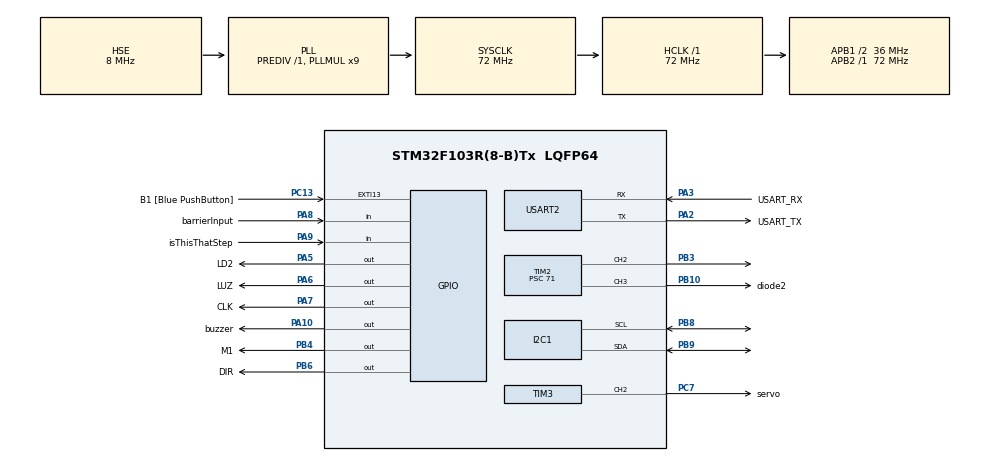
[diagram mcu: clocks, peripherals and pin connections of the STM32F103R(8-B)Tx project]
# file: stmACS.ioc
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Dma.I2C1_RX.1.Direction=DMA_PERIPH_TO_MEMORY
Dma.I2C1_RX.1.Instance=DMA1_Channel7
Dma.I2C1_RX.1.MemDataAlignment=DMA_MDATAALIGN_BYTE
Dma.I2C1_RX.1.MemInc=DMA_MINC_ENABLE
Dma.I2C1_RX.1.Mode=DMA_NORMAL
Dma.I2C1_RX.1.PeriphDataAlignment=DMA_PDATAALIGN_BYTE
Dma.I2C1_RX.1.PeriphInc=DMA_PINC_DISABLE
Dma.I2C1_RX.1.Priority=DMA_PRIORITY_LOW
Dma.I2C1_TX.0.Direction=DMA_MEMORY_TO_PERIPH
Dma.I2C1_TX.0.Instance=DMA1_Channel6
Dma.I2C1_TX.0.MemDataAlignment=DMA_MDATAALIGN_BYTE
Dma.I2C1_TX.0.MemInc=DMA_MINC_ENABLE
Dma.I2C1_TX.0.Mode=DMA_NORMAL
Dma.I2C1_TX.0.PeriphDataAlignment=DMA_PDATAALIGN_BYTE
Dma.I2C1_TX.0.PeriphInc=DMA_PINC_DISABLE
Dma.I2C1_TX.0.Priority=DMA_PRIORITY_LOW
Dma.Request0=I2C1_TX
Dma.Request1=I2C1_RX
FREERTOS.INCLUDE_vTaskDelayUntil=1
FREERTOS.Tasks01=defaultTask,0,128,StartDefaultTask,Default,NULL,Dynamic,NULL,NULL
Mcu.Family=STM32F1
Mcu.Name=STM32F103R(8-B)Tx
Mcu.Package=LQFP64
NVIC.DMA1_Channel6_IRQn=true\:5\:0\:false\:false\:true\:true\:false\:true
NVIC.DMA1_Channel7_IRQn=true\:5\:0\:false\:false\:true\:true\:false\:true
NVIC.EXTI15_10_IRQn=true\:5\:0\:false\:false\:true\:true\:true\:true
NVIC.I2C1_ER_IRQn=true\:5\:0\:false\:false\:true\:true\:true\:true
NVIC.I2C1_EV_IRQn=true\:5\:0\:false\:false\:true\:true\:true\:true
NVIC.PriorityGroup=NVIC_PRIORITYGROUP_4
NVIC.TIM3_IRQn=true\:5\:0\:false\:false\:true\:true\:true\:true
PA10.GPIO_Label=buzzer
PA10.Signal=GPIO_Output
PA13.GPIO_Label=TMS
PA13.Mode=Serial_Wire
PA13.Signal=SYS_JTMS-SWDIO
PA14.GPIO_Label=TCK
PA14.Mode=Serial_Wire
PA14.Signal=SYS_JTCK-SWCLK
PA2.GPIO_Label=USART_TX
PA2.GPIO_Mode=GPIO_MODE_AF_PP
PA2.GPIO_PuPd=GPIO_NOPULL
PA2.GPIO_Speed=GPIO_SPEED_FREQ_LOW
PA2.Mode=Asynchronous
PA2.Signal=USART2_TX
PA3.GPIO_Label=USART_RX
PA3.GPIO_Mode=GPIO_MODE_AF_PP
PA3.GPIO_PuPd=GPIO_NOPULL
PA3.GPIO_Speed=GPIO_SPEED_FREQ_LOW
PA3.Mode=Asynchronous
PA3.Signal=USART2_RX
PA5.GPIO_Label=LD2
PA5.GPIO_ModeDefaultOutputPP=GPIO_MODE_OUTPUT_PP
PA5.GPIO_PuPd=GPIO_NOPULL
PA5.GPIO_Speed=GPIO_SPEED_FREQ_LOW
PA5.Signal=GPIO_Output
PA6.GPIO_Label=LUZ
PA6.Signal=GPIO_Output
PA7.GPIO_Label=CLK
PA7.Signal=GPIO_Output
PA8.GPIO_Label=barrierInput
PA8.Signal=GPIO_Input
PA9.GPIO_Label=isThisThatStep
PA9.Signal=GPIO_Input
PB10.GPIO_Label=diode2
PB10.Signal=S_TIM2_CH3
PB3.Signal=S_TIM2_CH2
PB4.GPIO_Label=M1
PB4.Signal=GPIO_Output
PB6.GPIO_Label=DIR
PB6.Signal=GPIO_Output
PB8.Mode=I2C
PB8.Signal=I2C1_SCL
PB9.Mode=I2C
PB9.Signal=I2C1_SDA
PC13-TAMPER-RTC.GPIO_Label=B1 [Blue PushButton]
PC13-TAMPER-RTC.GPIO_PuPd=GPIO_NOPULL
PC13-TAMPER-RTC.Signal=GPXTI13
PC14-OSC32_IN.Mode=LSE-External-Oscillator
PC14-OSC32_IN.Signal=RCC_OSC32_IN
PC15-OSC32_OUT.Mode=LSE-External-Oscillator
PC15-OSC32_OUT.Signal=RCC_OSC32_OUT
PC7.GPIO_Label=servo
PC7.Signal=S_TIM3_CH2
PD0-OSC_IN.Mode=HSE-External-Clock-Source
PD0-OSC_IN.Signal=RCC_OSC_IN
PD1-OSC_OUT.Mode=HSE-External-Clock-Source
PD1-OSC_OUT.Signal=RCC_OSC_OUT
ProjectManager.HeapSize=0x200
ProjectManager.StackSize=0x400
ProjectManager.TargetToolchain=STM32CubeIDE
RCC.AHBFreq_Value=72000000
RCC.APB1CLKDivider=RCC_HCLK_DIV2
RCC.APB1Freq_Value=36000000
RCC.APB1TimFreq_Value=72000000
RCC.APB2Freq_Value=72000000
RCC.APB2TimFreq_Value=72000000
RCC.HCLKFreq_Value=72000000
RCC.PLLMUL=RCC_PLL_MUL9
RCC.PLLSourceVirtual=RCC_PLLSOURCE_HSE
RCC.RTCClockSelection=RCC_RTCCLKSOURCE_LSE
RCC.SYSCLKFreq_VALUE=72000000
RCC.SYSCLKSource=RCC_SYSCLKSOURCE_PLLCLK
RCC.USBFreq_Value=72000000
SH.S_TIM2_CH2.0=TIM2_CH2,PWM Generation2 CH2
SH.S_TIM2_CH3.0=TIM2_CH3,PWM Generation3 CH3
SH.S_TIM3_CH2.0=TIM3_CH2,PWM Generation2 CH2
TIM2.Channel-PWM\ Generation2\ CH2=TIM_CHANNEL_2
TIM2.Channel-PWM\ Generation3\ CH3=TIM_CHANNEL_3
TIM2.Period=999
TIM2.Prescaler=71
TIM3.Channel-PWM\ Generation2\ CH2=TIM_CHANNEL_2
TIM3.Period=19999
TIM3.Prescaler=71
USART2.VirtualMode=VM_ASYNC
VP_FREERTOS_VS_CMSIS_V1.Mode=CMSIS_V1
VP_TIM2_VS_ClockSourceINT.Mode=Internal
VP_TIM3_VS_ClockSourceINT.Mode=Internal
board=NUCLEO-F103RB

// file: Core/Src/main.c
/* USER CODE BEGIN Header */
/**
  ******************************************************************************
  * @file           : main.c
  * @brief          : Main program body
  ******************************************************************************
  * @attention
  *
  * <h2><center>&copy; Copyright (c) 2020 STMicroelectronics.
  * All rights reserved.</center></h2>
  *
  * This software component is licensed by ST under BSD 3-Clause license,
  * the "License"; You may not use this file except in compliance with the
  * License. You may obtain a copy of the License at:
  *                        opensource.org/licenses/BSD-3-Clause
  *
  ******************************************************************************
  */
/* USER CODE END Header */

#include "main.h"
#include "cmsis_os.h"

/* USER CODE BEGIN Includes */
#include "i2c-lcd.h"
#include "lcd_hd44780_i2c.h"
#include "stm32f1xx_it.h"
/* USER CODE END Includes */

I2C_HandleTypeDef hi2c1;
DMA_HandleTypeDef hdma_i2c1_tx;
DMA_HandleTypeDef hdma_i2c1_rx;

TIM_HandleTypeDef htim2;
TIM_HandleTypeDef htim3;

UART_HandleTypeDef huart2;

osThreadId defaultTaskHandle;
/* USER CODE BEGIN PV */
_Bool isNextStepServo = 0;
int licznik=0;
//bool isNextStepServo = false; //determines if next step is cherry
/* USER CODE END PV */

void SystemClock_Config(void);
static void MX_GPIO_Init(void);
static void MX_DMA_Init(void);
static void MX_USART2_UART_Init(void);
static void MX_TIM3_Init(void);
static void MX_I2C1_Init(void);
static void MX_TIM2_Init(void);
void StartDefaultTask(void const * argument);

/* USER CODE BEGIN PFP */
void StartDefaultTask(void const * argument) {
    /* USER CODE BEGIN StartDefaultTask */
    lcdInit(&hi2c1, (uint8_t)0x27, (uint8_t)2, (uint8_t)20);

    // Print text and home position 0,0
    lcdPrintStr((uint8_t*)"Hello,", 6);

    // Set cursor at zero position of line 3
    lcdSetCursorPosition(0, 2);

    // Print text at cursor position
    lcdPrintStr((uint8_t*)"World!", 6);

    for (;;) {
        vTaskDelay(1000);
    }

    /* USER CODE END StartDefaultTask */
}
/* USER CODE END PFP */

int main(void)
{

  /* MCU Configuration--------------------------------------------------------*/

  /* Reset of all peripherals, Initializes the Flash interface and the Systick. */
  HAL_Init();

  /* Configure the system clock */
  SystemClock_Config();

  /* Initialize all configured peripherals */
  MX_GPIO_Init();
  MX_DMA_Init();
  MX_USART2_UART_Init();
  MX_TIM3_Init();
  MX_I2C1_Init();
  MX_TIM2_Init();
  /* USER CODE BEGIN 2 */
  void StartDefaultTask(void const * argument) {
      /* USER CODE BEGIN StartDefaultTask */
      lcdInit(&hi2c1, (uint8_t)0x27, (uint8_t)2, (uint8_t)20);

      // Print text and home position 0,0
      lcdPrintStr((uint8_t*)"Hello,", 6);

      // Set cursor at zero position of line 3
      lcdSetCursorPosition(0, 2);

      // Print text at cursor position
      lcdPrintStr((uint8_t*)"World!", 6);

      for (;;) {
          vTaskDelay(1000);
      }

      /* USER CODE END StartDefaultTask */
  }

  HAL_TIM_PWM_Start(&htim3, TIM_CHANNEL_2); /* PWM servo PC7 */
  HAL_TIM_PWM_Start(&htim2, TIM_CHANNEL_2); /* PWM diode1 */
  HAL_TIM_PWM_Start(&htim2, TIM_CHANNEL_3); /* PWM diode2 */

  HAL_GPIO_WritePin(DIR_GPIO_Port, DIR_Pin, GPIO_PIN_RESET);
  //HAL_GPIO_WritePin(M1_GPIO_Port, M1_Pin, GPIO_PIN_SET);
  HAL_GPIO_WritePin(LUZ_GPIO_Port, LUZ_Pin, GPIO_PIN_RESET);
  HAL_GPIO_WritePin(CLK_GPIO_Port, CLK_Pin, GPIO_PIN_RESET);
  //__HAL_TIM_SET_COMPARE(&htim3, TIM_CHANNEL_2, 0);
  // htim3.Instance->CCR1=25;
  //HAL_Delay(1000);
  /* USER CODE END 2 */

  /* Create the thread(s) */
  /* definition and creation of defaultTask */
  osThreadDef(defaultTask, StartDefaultTask, osPriorityNormal, 0, 128);
  defaultTaskHandle = osThreadCreate(osThread(defaultTask), NULL);

  /* Start scheduler */
  osKernelStart();

  /* We should never get here as control is now taken by the scheduler */

  /* Infinite loop */
  /* USER CODE BEGIN WHILE */

  while (1)
  {

	  __HAL_TIM_SET_COMPARE(&htim2, TIM_CHANNEL_3, 1000);
	  //SILNIK KROKOWY

	  HAL_GPIO_WritePin(CLK_GPIO_Port, CLK_Pin, GPIO_PIN_SET);
	  HAL_Delay(1);
	  HAL_GPIO_WritePin(CLK_GPIO_Port, CLK_Pin, GPIO_PIN_RESET);
	  HAL_Delay(1000);

	  //HAL_GPIO_WritePin(LUZ_GPIO_Port, LUZ_Pin, GPIO_PIN_SET);

	  //lcdSetCursorPosition(0, 1);
	  //lcdPrintStr((uint8_t*)"Elo", 3);
	  //lcdSetCursorPosition(0, 2);
	  //lcdPrintStr((uint8_t*)"ziom", 4);

	  //WSTAW ZABEZPIECZENIE BUZZER I DIODA
	  	if(licznik>3){
	  		do{
	  	HAL_GPIO_WritePin(buzzer_GPIO_Port, buzzer_Pin, GPIO_PIN_SET);
	  	HAL_Delay(100);
	  	HAL_GPIO_WritePin(buzzer_GPIO_Port, buzzer_Pin, GPIO_PIN_RESET);
	  	HAL_Delay(1000);
	  	licznik=0;
	  	__HAL_TIM_SET_COMPARE(&htim2, TIM_CHANNEL_3, 0);
	  	__HAL_TIM_SET_COMPARE(&htim2, TIM_CHANNEL_2, 600);
	  		}while(HAL_GPIO_ReadPin(B1_GPIO_Port, B1_Pin) == 1); //wcisniety przycisk is button pressed?

	  	}

	  	  //czy wisnia wpadla
	  	  //if barrier broken -> signal low
		  if(HAL_GPIO_ReadPin(barrierInput_GPIO_Port, barrierInput_Pin) == 0){
			  isNextStepServo = 1;
		  //  zmienna nextwycisniecie
		  }

		  //if step is right (signal low) press the servo
		  if(HAL_GPIO_ReadPin(isThisThatStep_GPIO_Port, isThisThatStep_Pin) == 0 && isNextStepServo == 0){
			  licznik ++;
		  }

		  if(HAL_GPIO_ReadPin(isThisThatStep_GPIO_Port, isThisThatStep_Pin) == 0 && isNextStepServo == 1){
			//wyciskanie
			HAL_GPIO_WritePin(LD2_GPIO_Port, LD2_Pin, GPIO_PIN_SET);
		  	HAL_Delay(100);
		  	HAL_GPIO_WritePin(LD2_GPIO_Port, LD2_Pin, GPIO_PIN_RESET);
		  	HAL_Delay(100);

		  	__HAL_TIM_SET_COMPARE(&htim3, TIM_CHANNEL_2, 600);
		  	HAL_Delay(1000);
		  	__HAL_TIM_SET_COMPARE(&htim3, TIM_CHANNEL_2, 2400);
		  	HAL_Delay(1000);
		  	__HAL_TIM_SET_COMPARE(&htim3, TIM_CHANNEL_2, 600);
		  	HAL_Delay(1000);

			isNextStepServo = 0;
		 }

    /* USER CODE END WHILE */

  }
}

void SystemClock_Config(void)
{
  RCC_OscInitTypeDef RCC_OscInitStruct = {0};
  RCC_ClkInitTypeDef RCC_ClkInitStruct = {0};

  /** Initializes the CPU, AHB and APB busses clocks
  */
  RCC_OscInitStruct.OscillatorType = RCC_OSCILLATORTYPE_HSE;
  RCC_OscInitStruct.HSEState = RCC_HSE_BYPASS;
  RCC_OscInitStruct.HSEPredivValue = RCC_HSE_PREDIV_DIV1;
  RCC_OscInitStruct.HSIState = RCC_HSI_ON;
  RCC_OscInitStruct.PLL.PLLState = RCC_PLL_ON;
  RCC_OscInitStruct.PLL.PLLSource = RCC_PLLSOURCE_HSE;
  RCC_OscInitStruct.PLL.PLLMUL = RCC_PLL_MUL9;
  if (HAL_RCC_OscConfig(&RCC_OscInitStruct) != HAL_OK)
  {
    Error_Handler();
  }
  /** Initializes the CPU, AHB and APB busses clocks
  */
  RCC_ClkInitStruct.ClockType = RCC_CLOCKTYPE_HCLK|RCC_CLOCKTYPE_SYSCLK
                              |RCC_CLOCKTYPE_PCLK1|RCC_CLOCKTYPE_PCLK2;
  RCC_ClkInitStruct.SYSCLKSource = RCC_SYSCLKSOURCE_PLLCLK;
  RCC_ClkInitStruct.AHBCLKDivider = RCC_SYSCLK_DIV1;
  RCC_ClkInitStruct.APB1CLKDivider = RCC_HCLK_DIV2;
  RCC_ClkInitStruct.APB2CLKDivider = RCC_HCLK_DIV1;

  if (HAL_RCC_ClockConfig(&RCC_ClkInitStruct, FLASH_LATENCY_2) != HAL_OK)
  {
    Error_Handler();
  }
}

static void MX_I2C1_Init(void)
{

  hi2c1.Instance = I2C1;
  hi2c1.Init.ClockSpeed = 100000;
  hi2c1.Init.DutyCycle = I2C_DUTYCYCLE_2;
  hi2c1.Init.OwnAddress1 = 0;
  hi2c1.Init.AddressingMode = I2C_ADDRESSINGMODE_7BIT;
  hi2c1.Init.DualAddressMode = I2C_DUALADDRESS_DISABLE;
  hi2c1.Init.OwnAddress2 = 0;
  hi2c1.Init.GeneralCallMode = I2C_GENERALCALL_DISABLE;
  hi2c1.Init.NoStretchMode = I2C_NOSTRETCH_DISABLE;
  if (HAL_I2C_Init(&hi2c1) != HAL_OK)
  {
    Error_Handler();
  }

}

static void MX_TIM2_Init(void)
{

  TIM_ClockConfigTypeDef sClockSourceConfig = {0};
  TIM_MasterConfigTypeDef sMasterConfig = {0};
  TIM_OC_InitTypeDef sConfigOC = {0};

  htim2.Instance = TIM2;
  htim2.Init.Prescaler = 71;
  htim2.Init.CounterMode = TIM_COUNTERMODE_UP;
  htim2.Init.Period = 999;
  htim2.Init.ClockDivision = TIM_CLOCKDIVISION_DIV1;
  htim2.Init.AutoReloadPreload = TIM_AUTORELOAD_PRELOAD_DISABLE;
  if (HAL_TIM_Base_Init(&htim2) != HAL_OK)
  {
    Error_Handler();
  }
  sClockSourceConfig.ClockSource = TIM_CLOCKSOURCE_INTERNAL;
  if (HAL_TIM_ConfigClockSource(&htim2, &sClockSourceConfig) != HAL_OK)
  {
    Error_Handler();
  }
  if (HAL_TIM_PWM_Init(&htim2) != HAL_OK)
  {
    Error_Handler();
  }
  sMasterConfig.MasterOutputTrigger = TIM_TRGO_RESET;
  sMasterConfig.MasterSlaveMode = TIM_MASTERSLAVEMODE_DISABLE;
  if (HAL_TIMEx_MasterConfigSynchronization(&htim2, &sMasterConfig) != HAL_OK)
  {
    Error_Handler();
  }
  sConfigOC.OCMode = TIM_OCMODE_PWM1;
  sConfigOC.Pulse = 0;
  sConfigOC.OCPolarity = TIM_OCPOLARITY_HIGH;
  sConfigOC.OCFastMode = TIM_OCFAST_DISABLE;
  if (HAL_TIM_PWM_ConfigChannel(&htim2, &sConfigOC, TIM_CHANNEL_2) != HAL_OK)
  {
    Error_Handler();
  }
  if (HAL_TIM_PWM_ConfigChannel(&htim2, &sConfigOC, TIM_CHANNEL_3) != HAL_OK)
  {
    Error_Handler();
  }
  HAL_TIM_MspPostInit(&htim2);

}

static void MX_TIM3_Init(void)
{

  TIM_ClockConfigTypeDef sClockSourceConfig = {0};
  TIM_MasterConfigTypeDef sMasterConfig = {0};
  TIM_OC_InitTypeDef sConfigOC = {0};

  htim3.Instance = TIM3;
  htim3.Init.Prescaler = 71;
  htim3.Init.CounterMode = TIM_COUNTERMODE_UP;
  htim3.Init.Period = 19999;
  htim3.Init.ClockDivision = TIM_CLOCKDIVISION_DIV1;
  htim3.Init.AutoReloadPreload = TIM_AUTORELOAD_PRELOAD_DISABLE;
  if (HAL_TIM_Base_Init(&htim3) != HAL_OK)
  {
    Error_Handler();
  }
  sClockSourceConfig.ClockSource = TIM_CLOCKSOURCE_INTERNAL;
  if (HAL_TIM_ConfigClockSource(&htim3, &sClockSourceConfig) != HAL_OK)
  {
    Error_Handler();
  }
  if (HAL_TIM_PWM_Init(&htim3) != HAL_OK)
  {
    Error_Handler();
  }
  sMasterConfig.MasterOutputTrigger = TIM_TRGO_RESET;
  sMasterConfig.MasterSlaveMode = TIM_MASTERSLAVEMODE_DISABLE;
  if (HAL_TIMEx_MasterConfigSynchronization(&htim3, &sMasterConfig) != HAL_OK)
  {
    Error_Handler();
  }
  sConfigOC.OCMode = TIM_OCMODE_PWM1;
  sConfigOC.Pulse = 0;
  sConfigOC.OCPolarity = TIM_OCPOLARITY_HIGH;
  sConfigOC.OCFastMode = TIM_OCFAST_DISABLE;
  if (HAL_TIM_PWM_ConfigChannel(&htim3, &sConfigOC, TIM_CHANNEL_2) != HAL_OK)
  {
    Error_Handler();
  }
  HAL_TIM_MspPostInit(&htim3);

}

static void MX_USART2_UART_Init(void)
{

  huart2.Instance = USART2;
  huart2.Init.BaudRate = 115200;
  huart2.Init.WordLength = UART_WORDLENGTH_8B;
  huart2.Init.StopBits = UART_STOPBITS_1;
  huart2.Init.Parity = UART_PARITY_NONE;
  huart2.Init.Mode = UART_MODE_TX_RX;
  huart2.Init.HwFlowCtl = UART_HWCONTROL_NONE;
  huart2.Init.OverSampling = UART_OVERSAMPLING_16;
  if (HAL_UART_Init(&huart2) != HAL_OK)
  {
    Error_Handler();
  }

}

static void MX_DMA_Init(void)
{

  /* DMA controller clock enable */
  __HAL_RCC_DMA1_CLK_ENABLE();

  /* DMA interrupt init */
  /* DMA1_Channel6_IRQn interrupt configuration */
  HAL_NVIC_SetPriority(DMA1_Channel6_IRQn, 5, 0);
  HAL_NVIC_EnableIRQ(DMA1_Channel6_IRQn);
  /* DMA1_Channel7_IRQn interrupt configuration */
  HAL_NVIC_SetPriority(DMA1_Channel7_IRQn, 5, 0);
  HAL_NVIC_EnableIRQ(DMA1_Channel7_IRQn);

}

static void MX_GPIO_Init(void)
{
  GPIO_InitTypeDef GPIO_InitStruct = {0};

  /* GPIO Ports Clock Enable */
  __HAL_RCC_GPIOC_CLK_ENABLE();
  __HAL_RCC_GPIOD_CLK_ENABLE();
  __HAL_RCC_GPIOA_CLK_ENABLE();
  __HAL_RCC_GPIOB_CLK_ENABLE();

  /*Configure GPIO pin Output Level */
  HAL_GPIO_WritePin(GPIOA, LD2_Pin|LUZ_Pin|CLK_Pin|buzzer_Pin, GPIO_PIN_RESET);

  /*Configure GPIO pin Output Level */
  HAL_GPIO_WritePin(GPIOB, M1_Pin|DIR_Pin, GPIO_PIN_RESET);

  /*Configure GPIO pin : B1_Pin */
  GPIO_InitStruct.Pin = B1_Pin;
  GPIO_InitStruct.Mode = GPIO_MODE_IT_RISING;
  GPIO_InitStruct.Pull = GPIO_NOPULL;
  HAL_GPIO_Init(B1_GPIO_Port, &GPIO_InitStruct);

  /*Configure GPIO pins : LD2_Pin LUZ_Pin CLK_Pin buzzer_Pin */
  GPIO_InitStruct.Pin = LD2_Pin|LUZ_Pin|CLK_Pin|buzzer_Pin;
  GPIO_InitStruct.Mode = GPIO_MODE_OUTPUT_PP;
  GPIO_InitStruct.Pull = GPIO_NOPULL;
  GPIO_InitStruct.Speed = GPIO_SPEED_FREQ_LOW;
  HAL_GPIO_Init(GPIOA, &GPIO_InitStruct);

  /*Configure GPIO pins : barrierInput_Pin isThisThatStep_Pin */
  GPIO_InitStruct.Pin = barrierInput_Pin|isThisThatStep_Pin;
  GPIO_InitStruct.Mode = GPIO_MODE_INPUT;
  GPIO_InitStruct.Pull = GPIO_NOPULL;
  HAL_GPIO_Init(GPIOA, &GPIO_InitStruct);

  /*Configure GPIO pins : M1_Pin DIR_Pin */
  GPIO_InitStruct.Pin = M1_Pin|DIR_Pin;
  GPIO_InitStruct.Mode = GPIO_MODE_OUTPUT_PP;
  GPIO_InitStruct.Pull = GPIO_NOPULL;
  GPIO_InitStruct.Speed = GPIO_SPEED_FREQ_LOW;
  HAL_GPIO_Init(GPIOB, &GPIO_InitStruct);

  /* EXTI interrupt init*/
  HAL_NVIC_SetPriority(EXTI15_10_IRQn, 5, 0);
  HAL_NVIC_EnableIRQ(EXTI15_10_IRQn);

}

void Error_Handler(void)
{
}

/************************ (C) COPYRIGHT STMicroelectronics *****END OF FILE****/

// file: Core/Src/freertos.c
/* USER CODE BEGIN Header */
/**
  ******************************************************************************
  * File Name          : freertos.c
  * Description        : Code for freertos applications
  ******************************************************************************
  * @attention
  *
  * <h2><center>&copy; Copyright (c) 2020 STMicroelectronics.
  * All rights reserved.</center></h2>
  *
  * This software component is licensed by ST under Ultimate Liberty license
  * SLA0044, the "License"; You may not use this file except in compliance with
  * the License. You may obtain a copy of the License at:
  *                             www.st.com/SLA0044
  *
  ******************************************************************************
  */
/* USER CODE END Header */

#include "FreeRTOS.h"
#include "task.h"
#include "main.h"

/* GetIdleTaskMemory prototype (linked to static allocation support) */
void vApplicationGetIdleTaskMemory( StaticTask_t **ppxIdleTaskTCBBuffer, StackType_t **ppxIdleTaskStackBuffer, uint32_t *pulIdleTaskStackSize );

/* USER CODE BEGIN GET_IDLE_TASK_MEMORY */
static StaticTask_t xIdleTaskTCBBuffer;
static StackType_t xIdleStack[configMINIMAL_STACK_SIZE];

void vApplicationGetIdleTaskMemory( StaticTask_t **ppxIdleTaskTCBBuffer, StackType_t **ppxIdleTaskStackBuffer, uint32_t *pulIdleTaskStackSize )
{
  *ppxIdleTaskTCBBuffer = &xIdleTaskTCBBuffer;
  *ppxIdleTaskStackBuffer = &xIdleStack[0];
  *pulIdleTaskStackSize = configMINIMAL_STACK_SIZE;
  /* place for user code */
}

/* USER CODE END GET_IDLE_TASK_MEMORY */

/************************ (C) COPYRIGHT STMicroelectronics *****END OF FILE****/
